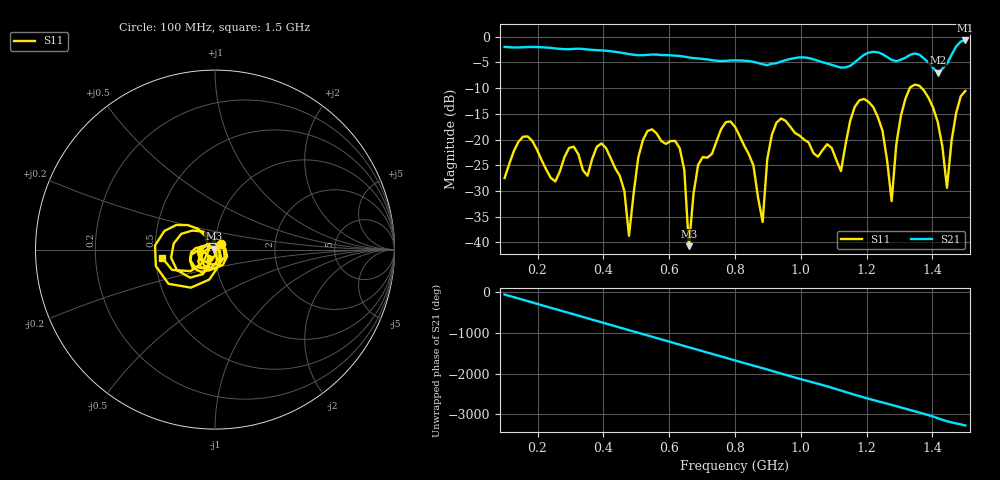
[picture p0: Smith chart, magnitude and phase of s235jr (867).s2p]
! NanoVNA-App
! Date: 2025-09-25 15:10:55
! Start: 100MHz Stop: 1,5GHz Points: 101
! S-Parameter data: F S11 S21 S12 S22
# Hz S RI R 50
!  Frequency  S11_Real  S11_Imag  S21_Real  S21_Imag  S12_Real  S12_Imag  S22_Real  S22_Imag
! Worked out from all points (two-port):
!   101 points, 100 MHz to 1.5 GHz, reference 50 ohm
!   highest |S21| = -0.72 dB at 1.5 GHz (marker M1); lowest = -7.0 dB at 1.416 GHz (marker M2)
!   |S21| within 3 dB of the highest: start of sweep to 628 MHz; 1.188 GHz to 1.257 GHz (68.81 MHz wide, 5.63 % of centre) (the widest 2 of 4)
!   lowest |S11| = -40.7 dB at 660 MHz (marker M3), VSWR 1.02, Z = 49.3 + j0.557 ohm
!   |S11| at or under -10 dB: start of sweep to 1.331 GHz; 1.367 GHz to end of sweep
!   S12 and S22 are empty: the file has one direction only
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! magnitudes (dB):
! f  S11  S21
! 100 MHz  -27.5  -2.0
! 156 MHz  -19.4  -2.0
! 338 MHz  -26.0  -2.4
! 408 MHz  -21.6  -2.7
! 478 MHz  -38.7  -3.4
! 520 MHz  -20.1  -3.6
! 576 MHz  -20.3  -3.5
! 632 MHz  -21.7  -3.7
! 660 MHz  -40.7  -4.0
! 688 MHz  -24.9  -4.2
! 800 MHz  -17.5  -4.6
! 884 MHz  -36.0  -5.3
! 926 MHz  -16.7  -5.1
! 1.038 GHz  -22.6  -4.4
! 1.122 GHz  -26.1  -6.0
! 1.192 GHz  -12.1  -3.5
! 1.248 GHz  -18.2  -3.4
! 1.276 GHz  -32.0  -4.5
! 1.332 GHz  -9.9  -3.5
! 1.416 GHz  -16.6  -7.0
! 1.444 GHz  -29.4  -5.2
! 1.5 GHz  -10.5  -0.7
